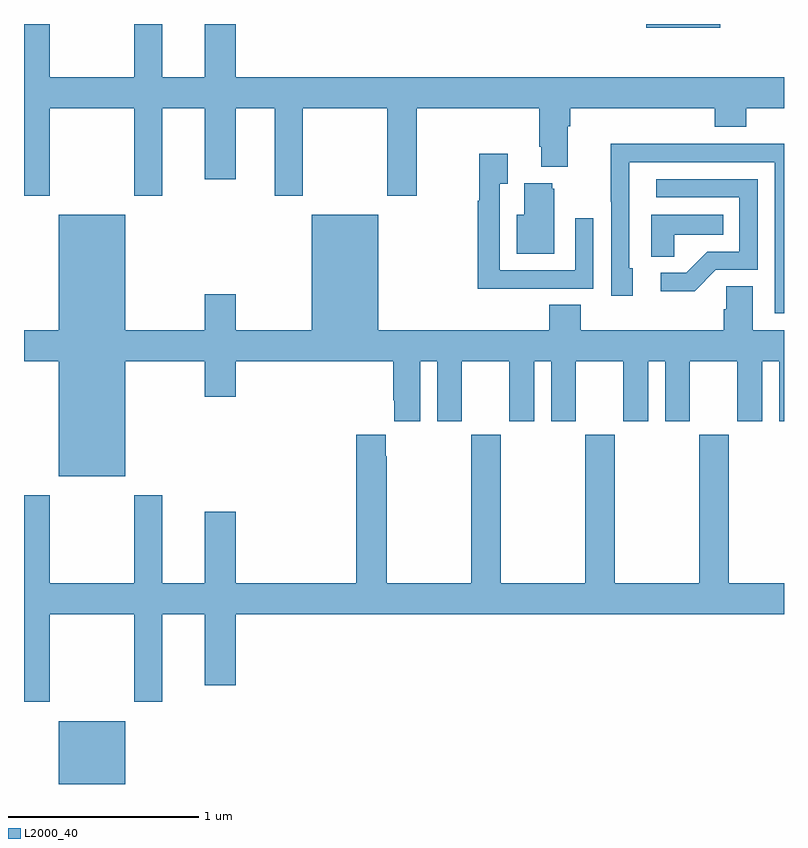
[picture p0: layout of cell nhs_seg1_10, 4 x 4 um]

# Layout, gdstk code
import gdstk
lib = gdstk.Library(unit=1e-6, precision=1e-09)
def R(c, l, rs):  # rectangles x0, y0, x1, y1
    for r in rs: c.add(gdstk.rectangle(r[:2], r[2:], *l))
def P(c, l, *ps):  # polygons
    for p in ps: c.add(gdstk.Polygon(p, *l))
L2000_40 = (2000, 40)

nhs_seg1_10 = lib.new_cell('nhs_seg1_10')
R(nhs_seg1_10, L2000_40, [(111.182,524.199,111.532,524.53), (114.276,528.179,114.664,528.199)])
P(nhs_seg1_10, L2000_40, [(111.135,527.756),(111.58,527.756),(111.58,527.295),(111.727,527.295),(111.727,527.756),(111.95,527.756),(111.95,527.382),(112.114,527.382),(112.114,527.756),(112.319,527.756),(112.319,527.295),(112.467,527.295),(112.467,527.756),(112.912,527.756),(112.912,527.295),(113.067,527.295),(113.067,527.756),(113.711,527.756),(113.711,527.554),(113.723,527.554),(113.723,527.447),(113.863,527.447),(113.863,527.66),(113.876,527.66),(113.876,527.756),(114.635,527.756),(114.635,527.657),(114.8,527.657),(114.8,527.756),(115,527.756),(115,527.92),(112.114,527.92),(112.114,528.199),(111.95,528.199),(111.95,527.92),(111.727,527.92),(111.727,528.199),(111.58,528.199),(111.58,527.92),(111.135,527.92),(111.135,528.199),(111,528.199),(111,527.295),(111.135,527.295)],
  [(115,527.568),(114.551,527.568),(114.551,527.57),(114.088,527.57),(114.088,527.263),(114.09,527.263),(114.09,526.77),(114.205,526.77),(114.205,526.914),(114.186,526.914),(114.186,527.472),(114.951,527.472),(114.951,526.677),(115,526.677)],
  [(113.681,526.806),(113.997,526.806),(113.997,527.176),(113.901,527.176),(113.901,526.902),(113.505,526.902),(113.505,527.359),(113.545,527.359),(113.545,527.515),(113.397,527.515),(113.397,527.27),(113.389,527.27),(113.389,526.805),(113.681,526.805)],
  [(114.642,526.905),(114.861,526.905),(114.861,527.382),(114.327,527.382),(114.327,527.286),(114.765,527.286),(114.765,527.001),(114.596,527.001),(114.485,526.89),(114.351,526.89),(114.351,526.793),(114.529,526.793)],
  [(113.791,527.331),(113.78,527.331),(113.78,527.362),(113.633,527.362),(113.633,527.194),(113.594,527.194),(113.594,526.991),(113.791,526.991)],
  [(114.423,527.09),(114.68,527.09),(114.68,527.194),(114.302,527.194),(114.302,526.975),(114.423,526.975)],
  [(111.532,526.424),(111.95,526.424),(111.95,526.236),(112.114,526.236),(112.114,526.424),(112.943,526.424),(112.943,526.219),(112.949,526.219),(112.949,526.107),(113.086,526.107),(113.086,526.424),(113.174,526.424),(113.174,526.107),(113.305,526.107),(113.305,526.424),(113.555,526.424),(113.555,526.107),(113.686,526.107),(113.686,526.424),(113.774,526.424),(113.774,526.107),(113.905,526.107),(113.905,526.424),(114.155,526.424),(114.155,526.107),(114.286,526.107),(114.286,526.424),(114.374,526.424),(114.374,526.107),(114.505,526.107),(114.505,526.424),(114.755,526.424),(114.755,526.107),(114.886,526.107),(114.886,526.424),(114.974,526.424),(114.974,526.107),(115,526.107),(115,526.588),(114.835,526.588),(114.835,526.82),(114.696,526.82),(114.696,526.697),(114.683,526.697),(114.683,526.588),(113.93,526.588),(113.93,526.721),(113.765,526.721),(113.765,526.588),(112.864,526.588),(112.864,527.194),(112.514,527.194),(112.514,526.588),(112.114,526.588),(112.114,526.777),(111.95,526.777),(111.95,526.588),(111.532,526.588),(111.532,527.194),(111.182,527.194),(111.182,526.588),(111,526.588),(111,526.424),(111.182,526.424),(111.182,525.818),(111.532,525.818)],
  [(111.135,525.092),(111.58,525.092),(111.58,524.631),(111.727,524.631),(111.727,525.092),(111.95,525.092),(111.95,524.718),(112.114,524.718),(112.114,525.092),(115,525.092),(115,525.256),(114.708,525.256),(114.708,526.036),(114.553,526.036),(114.553,525.256),(114.108,525.256),(114.108,526.036),(113.953,526.036),(113.953,525.256),(113.508,525.256),(113.508,526.036),(113.353,526.036),(113.353,525.256),(112.908,525.256),(112.908,525.923),(112.903,525.923),(112.903,526.036),(112.748,526.036),(112.748,525.256),(112.114,525.256),(112.114,525.631),(111.95,525.631),(111.95,525.256),(111.727,525.256),(111.727,525.718),(111.58,525.718),(111.58,525.256),(111.135,525.256),(111.135,525.718),(111,525.718),(111,524.631),(111.135,524.631)])

lib.write_gds('nhs_seg1_10.gds')
